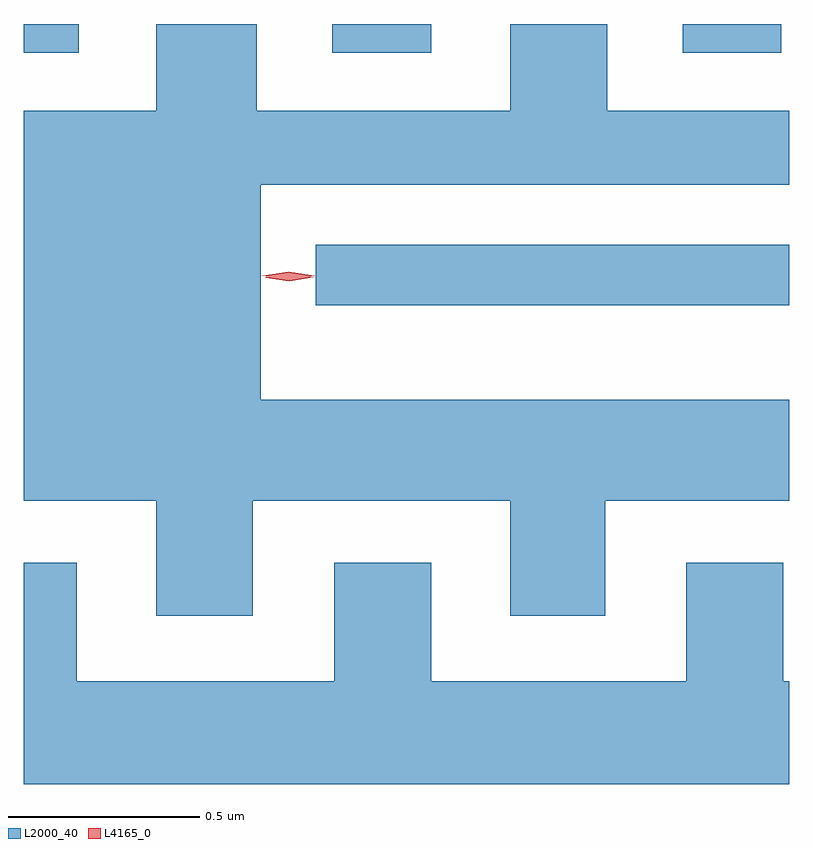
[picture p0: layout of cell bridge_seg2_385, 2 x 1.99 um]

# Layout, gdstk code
import gdstk
lib = gdstk.Library(unit=1e-6, precision=1e-09)
def R(c, l, rs):  # rectangles x0, y0, x1, y1
    for r in rs: c.add(gdstk.rectangle(r[:2], r[2:], *l))
def P(c, l, *ps):  # polygons
    for p in ps: c.add(gdstk.Polygon(p, *l))
L2000_40 = (2000, 40)
L4165_0 = (4165, 0)

bridge_seg2_385 = lib.new_cell('bridge_seg2_385')
R(bridge_seg2_385, L2000_40, [(608.353,1031.806,609.59,1031.964), (607.59,1032.466,607.734,1032.541), (608.396,1032.466,608.654,1032.541), (609.311,1032.466,609.569,1032.541)])
P(bridge_seg2_385, L2000_40, [(608.189,1031.296),(608.861,1031.296),(608.861,1030.996),(609.109,1030.996),(609.109,1031.296),(609.59,1031.296),(609.59,1031.559),(608.209,1031.559),(608.209,1032.121),(609.59,1032.121),(609.59,1032.314),(609.114,1032.314),(609.114,1032.541),(608.861,1032.541),(608.861,1032.314),(608.199,1032.314),(608.199,1032.541),(607.936,1032.541),(607.936,1032.314),(607.59,1032.314),(607.59,1031.296),(607.936,1031.296),(607.936,1030.996),(608.189,1030.996)],
  [(609.59,1030.824),(609.574,1030.824),(609.574,1031.134),(609.321,1031.134),(609.321,1030.824),(608.654,1030.824),(608.654,1031.134),(608.401,1031.134),(608.401,1030.824),(607.729,1030.824),(607.729,1031.134),(607.59,1031.134),(607.59,1030.556),(609.59,1030.556)])
P(bridge_seg2_385, L4165_0, [(608.284,1031.869),(608.222,1031.878),(608.222,1031.879),(608.222,1031.879),(608.284,1031.889),(608.346,1031.88),(608.347,1031.879),(608.346,1031.879)],
  [(608.282,1031.874),(608.213,1031.883),(608.212,1031.884),(608.213,1031.884),(608.282,1031.894),(608.35,1031.884),(608.35,1031.884),(608.35,1031.883)])

lib.write_gds('bridge_seg2_385.gds')
